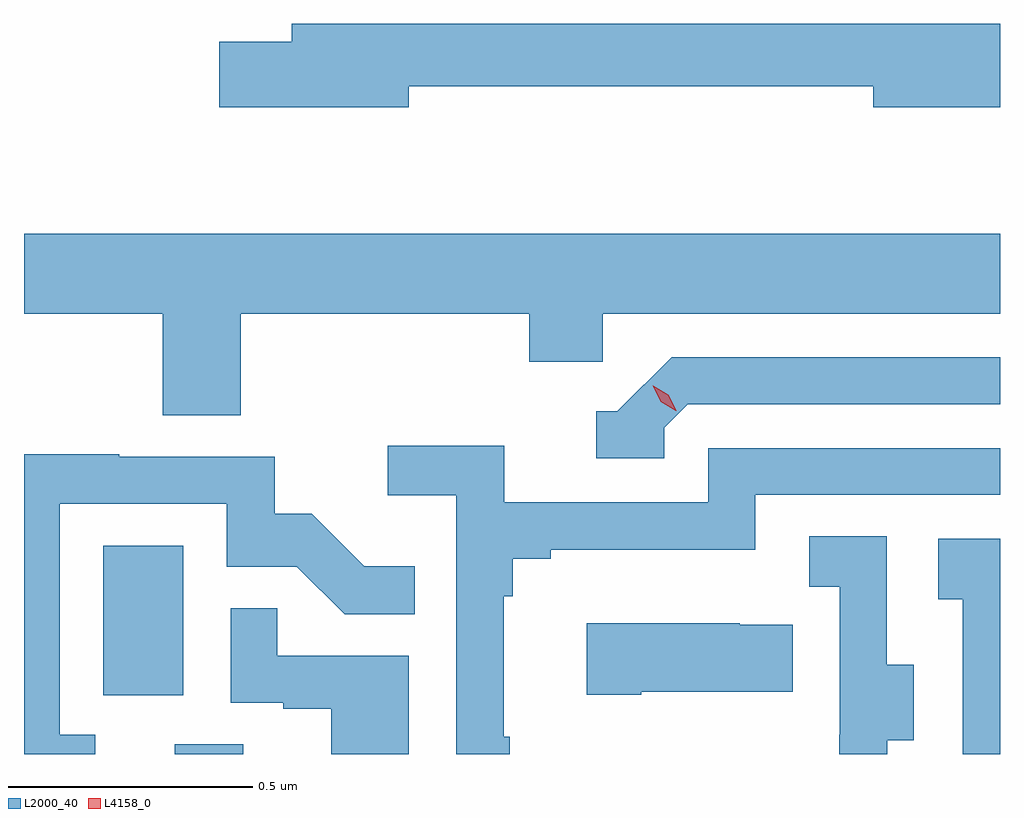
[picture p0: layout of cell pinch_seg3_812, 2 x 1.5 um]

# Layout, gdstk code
import gdstk
lib = gdstk.Library(unit=1e-6, precision=1e-09)
def R(c, l, rs):  # rectangles x0, y0, x1, y1
    for r in rs: c.add(gdstk.rectangle(r[:2], r[2:], *l))
def P(c, l, *ps):  # polygons
    for p in ps: c.add(gdstk.Polygon(p, *l))
L2000_40 = (2000, 40)
L4158_0 = (4158, 0)

pinch_seg3_812 = lib.new_cell('pinch_seg3_812')
R(pinch_seg3_812, L2000_40, [(849.005,713.334,849.145,713.354), (848.858,713.454,849.022,713.761)])
P(pinch_seg3_812, L2000_40, [(849.484,714.702),(850.436,714.702),(850.436,714.659),(850.696,714.659),(850.696,714.83),(849.245,714.83),(849.245,714.794),(849.096,714.794),(849.096,714.659),(849.484,714.659)],
  [(849.14,714.236),(849.731,714.236),(849.731,714.138),(849.882,714.138),(849.882,714.236),(850.696,714.236),(850.696,714.4),(848.696,714.4),(848.696,714.236),(848.98,714.236),(848.98,714.028),(849.14,714.028)],
  [(850.008,714.003),(850.056,714.051),(850.696,714.051),(850.696,714.147),(850.023,714.147),(849.912,714.036),(849.869,714.036),(849.869,713.94),(850.008,713.94)],
  [(849.691,713.369),(849.679,713.369),(849.679,713.657),(849.698,713.657),(849.698,713.734),(849.775,713.734),(849.775,713.753),(850.194,713.753),(850.194,713.865),(850.696,713.865),(850.696,713.961),(850.098,713.961),(850.098,713.85),(849.68,713.85),(849.68,713.966),(849.441,713.966),(849.441,713.864),(849.582,713.864),(849.582,713.334),(849.691,713.334)],
  [(848.842,713.373),(848.769,713.373),(848.769,713.847),(849.111,713.847),(849.111,713.718),(849.255,713.718),(849.353,713.62),(849.497,713.62),(849.497,713.719),(849.393,713.719),(849.286,713.826),(849.21,713.826),(849.21,713.943),(848.891,713.943),(848.891,713.948),(848.696,713.948),(848.696,713.334),(848.842,713.334)],
  [(850.465,713.362),(850.519,713.362),(850.519,713.517),(850.464,713.517),(850.464,713.78),(850.305,713.78),(850.305,713.677),(850.368,713.677),(850.368,713.373),(850.367,713.373),(850.367,713.334),(850.465,713.334)],
  [(850.696,713.775),(850.569,713.775),(850.569,713.651),(850.62,713.651),(850.62,713.334),(850.696,713.334)],
  [(849.484,713.535),(849.215,713.535),(849.215,713.633),(849.12,713.633),(849.12,713.439),(849.227,713.439),(849.227,713.427),(849.326,713.427),(849.326,713.334),(849.484,713.334)],
  [(849.961,713.462),(850.271,713.462),(850.271,713.599),(850.163,713.599),(850.163,713.602),(849.849,713.602),(849.849,713.455),(849.961,713.455)])
P(pinch_seg3_812, L4158_0, [(850.032,714.037),(850.001,714.056),(849.984,714.089),(849.984,714.089),(849.985,714.089),(850.016,714.07),(850.033,714.038),(850.033,714.037)])

lib.write_gds('pinch_seg3_812.gds')
